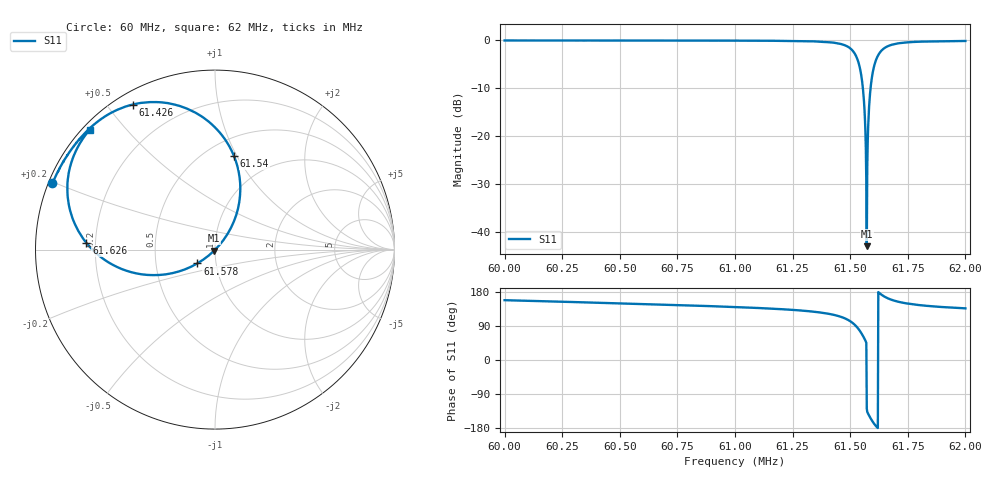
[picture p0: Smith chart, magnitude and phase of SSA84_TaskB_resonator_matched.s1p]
#  HZ  S  DB  R  50.00
! Rohde & Schwarz ZVB8 2Ports - Version 3.70 - 1145.1010k08 SN: 100925
! Date: 2021-11-08 13:22:31
! Measurement: S11
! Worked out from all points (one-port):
!   1001 points, 60 MHz to 62 MHz, reference 50 ohm
!   lowest |S11| = -42.9 dB at 61.572 MHz (marker M1), VSWR 1.01, Z = 49.6 - j0.556 ohm
!   |S11| at or under -10 dB: 61.55486 MHz to 61.58861 MHz (33.74 kHz wide, 0.0548 % of centre)
!   S11 on the Smith chart (normalised r, x): 60 MHz: 0.01, +0.20; 61.426 MHz: 0.05, +0.58; 61.54 MHz: 0.67, +0.97; 61.578 MHz: 0.81, -0.13; 61.626 MHz: 0.16, +0.03; 62 MHz: 0.02, +0.40
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6e7  -0.19 157.8
6.025e7  -0.20 153.7
6.05e7  -0.21 149.5
6.075e7  -0.21 145.0
6.1e7  -0.23 139.7
6.125e7  -0.29 132.2
6.1354e7  -0.40 126.6
6.1426e7  -0.64 119.6
6.1466e7  -1.01 112.5
6.15e7  -1.82 102.4
6.1522e7  -3.10 91.6
6.154e7  -5.47 78.6
6.1554e7  -9.59 65.1
6.1558e7  -11.63 60.7
6.1562e7  -14.50 56.1
6.1564e7  -16.47 53.7
6.1572e7  -42.87 -128.7
6.1578e7  -18.06 -142.0
6.1582e7  -13.96 -146.7
6.1584e7  -12.51 -148.9
6.1586e7  -11.30 -151.1
6.1594e7  -7.93 -159.4
6.1608e7  -4.80 -171.5
6.1626e7  -2.89 177.0
6.1648e7  -1.79 167.5
6.168e7  -1.09 158.8
6.175e7  -0.58 148.9
6.2e7  -0.30 136.3
